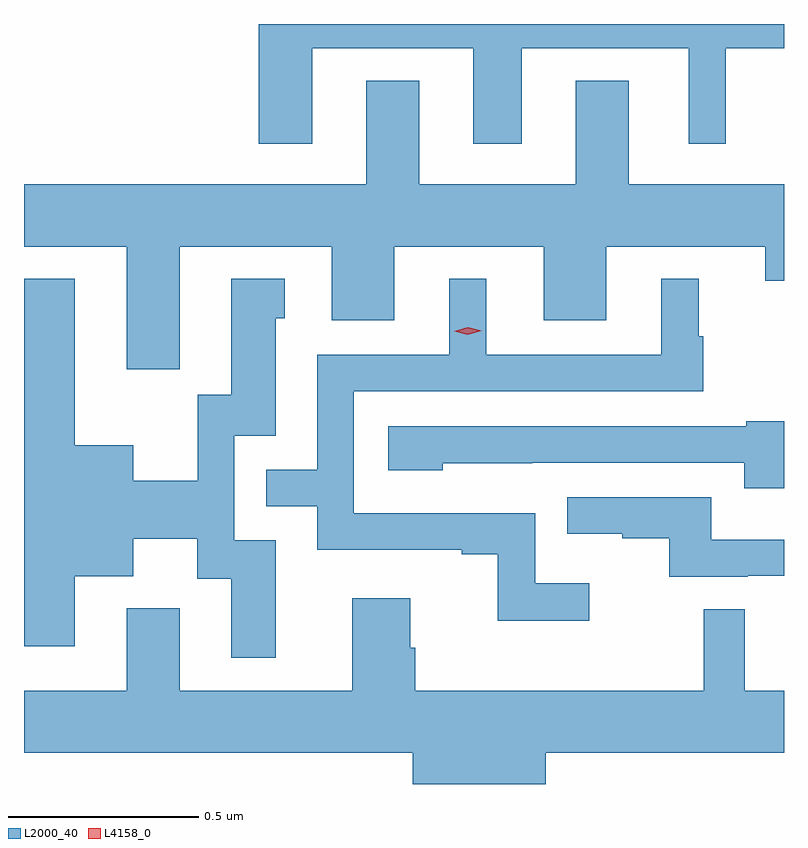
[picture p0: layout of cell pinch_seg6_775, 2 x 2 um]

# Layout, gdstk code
import gdstk
lib = gdstk.Library(unit=1e-6, precision=1e-09)
def P(c, l, *ps):  # polygons
    for p in ps: c.add(gdstk.Polygon(p, *l))
L2000_40 = (2000, 40)
L4158_0 = (4158, 0)

pinch_seg6_775 = lib.new_cell('pinch_seg6_775')
P(pinch_seg6_775, L2000_40, [(532.051,941.198),(532.475,941.198),(532.475,940.947),(532.603,940.947),(532.603,941.198),(533.042,941.198),(533.042,940.947),(533.14,940.947),(533.14,941.198),(533.293,941.198),(533.293,941.262),(531.911,941.262),(531.911,940.947),(532.051,940.947)],
  [(531.703,940.676),(532.103,940.676),(532.103,940.482),(532.267,940.482),(532.267,940.676),(532.661,940.676),(532.661,940.482),(532.825,940.482),(532.825,940.676),(533.243,940.676),(533.243,940.586),(533.293,940.586),(533.293,940.84),(532.885,940.84),(532.885,941.113),(532.745,941.113),(532.745,940.84),(532.333,940.84),(532.333,941.113),(532.193,941.113),(532.193,940.84),(531.293,940.84),(531.293,940.676),(531.563,940.676),(531.563,940.353),(531.703,940.353)],
  [(532.78,939.79),(532.638,939.79),(532.638,939.975),(532.161,939.975),(532.161,940.296),(533.08,940.296),(533.08,940.44),(533.068,940.44),(533.068,940.591),(532.97,940.591),(532.97,940.392),(532.51,940.392),(532.51,940.591),(532.412,940.591),(532.412,940.392),(532.065,940.392),(532.065,940.089),(531.931,940.089),(531.931,939.993),(532.065,939.993),(532.065,939.879),(532.445,939.879),(532.445,939.867),(532.54,939.867),(532.54,939.692),(532.78,939.692)],
  [(531.955,939.903),(531.846,939.903),(531.846,940.179),(531.955,940.179),(531.955,940.488),(531.979,940.488),(531.979,940.591),(531.839,940.591),(531.839,940.287),(531.75,940.287),(531.75,940.06),(531.58,940.06),(531.58,940.153),(531.427,940.153),(531.427,940.591),(531.293,940.591),(531.293,939.624),(531.427,939.624),(531.427,939.809),(531.58,939.809),(531.58,939.908),(531.749,939.908),(531.749,939.802),(531.839,939.802),(531.839,939.594),(531.955,939.594)],
  [(533.293,940.216),(533.193,940.216),(533.193,940.203),(532.251,940.203),(532.251,940.088),(532.395,940.088),(532.395,940.106),(532.631,940.106),(532.631,940.107),(533.189,940.107),(533.189,940.04),(533.293,940.04)],
  [(533.198,939.81),(533.293,939.81),(533.293,939.905),(533.101,939.905),(533.101,940.017),(532.723,940.017),(532.723,939.92),(532.867,939.92),(532.867,939.909),(532.991,939.909),(532.991,939.807),(533.198,939.807)],
  [(532.666,939.344),(533.293,939.344),(533.293,939.508),(533.19,939.508),(533.19,939.722),(533.082,939.722),(533.082,939.508),(532.322,939.508),(532.322,939.621),(532.309,939.621),(532.309,939.751),(532.157,939.751),(532.157,939.508),(531.703,939.508),(531.703,939.724),(531.563,939.724),(531.563,939.508),(531.293,939.508),(531.293,939.344),(532.316,939.344),(532.316,939.262),(532.666,939.262)])
P(pinch_seg6_775, L4158_0, [(532.461,940.444),(532.425,940.454),(532.425,940.454),(532.425,940.454),(532.461,940.464),(532.497,940.455),(532.497,940.455),(532.497,940.455)])

lib.write_gds('pinch_seg6_775.gds')
